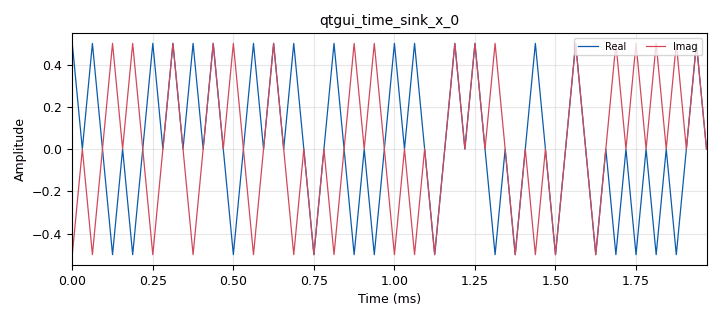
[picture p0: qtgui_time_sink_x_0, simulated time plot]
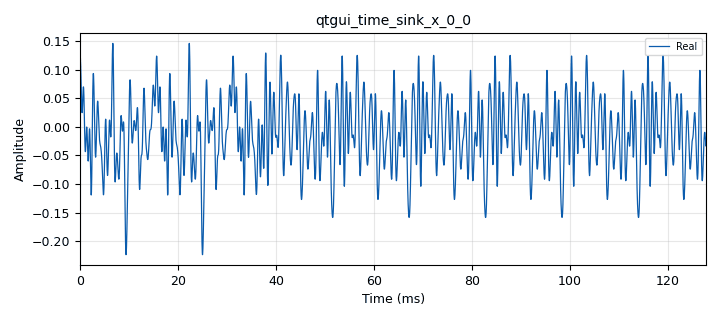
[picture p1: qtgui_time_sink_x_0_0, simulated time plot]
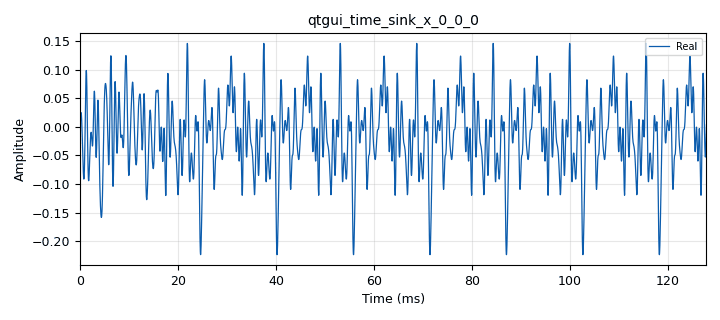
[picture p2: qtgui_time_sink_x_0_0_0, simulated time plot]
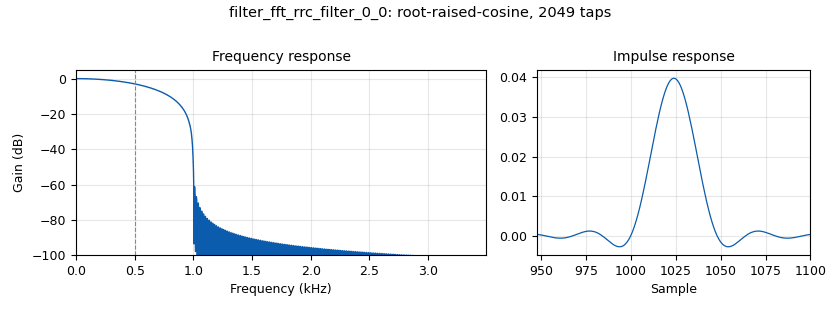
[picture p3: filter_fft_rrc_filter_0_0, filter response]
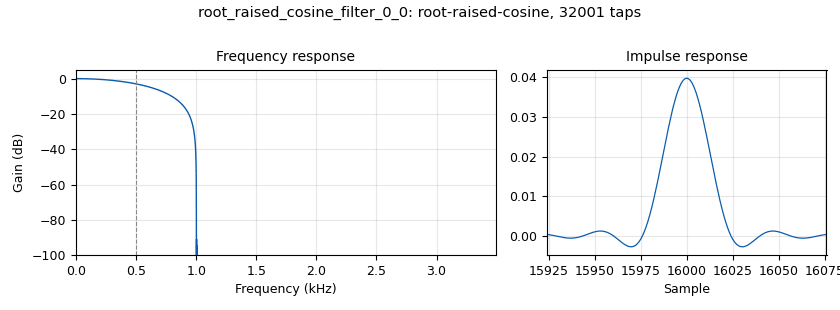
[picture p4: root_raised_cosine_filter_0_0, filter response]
options:
  parameters:
    generate_options: qt_gui
    id: QAM_Caio
    output_language: python
    title: Not titled yet
  states: {}

blocks:
- name: Ep_Choose
  id: variable_qtgui_range
  parameters:
    label: Energia Média da Constelação
    start: '1'
    step: '1'
    stop: '50'
    value: '1'
  states: {}
- name: MQAM
  id: variable_constellation
  parameters:
    const_points: '[-1-1j, -1+1j, 1+1j, 1-1j]'
    dims: '1'
    normalization: digital.constellation.AMPLITUDE_NORMALIZATION
    precision: '8'
    rot_sym: '4'
    sym_map: '[0, 1, 3, 2]'
    type: calcdist
  states: {}
- name: M_Choose
  id: variable_qtgui_chooser
  parameters:
    label: M
    labels: '[''4-QAM'' , ''16-QAM'', ''36-QAM'', ''64-QAM'']'
    num_opts: '0'
    options: '[4, 16, 36, 64]'
    type: real
    value: '4'
  states: {}
- name: SPSymb
  id: variable
  parameters:
    value: '32'
  states: {}
- name: samp_rate
  id: variable
  parameters:
    value: '32000'
  states: {}
- name: analog_random_source_x_0
  id: analog_random_source_x
  parameters:
    max: '2'
    min: '0'
    num_samps: '1000'
    repeat: 'True'
    type: int
  states: {}
- name: blocks_complex_to_float_0
  id: blocks_complex_to_float
  parameters: {}
  states: {}
- name: blocks_int_to_float_0
  id: blocks_int_to_float
  parameters:
    scale: '1'
  states: {}
- name: epy_block_0
  id: epy_block
  parameters:
    Ep: Ep_Choose
    M: M_Choose
    _source_code: |
      """
      Embedded Python Blocks:

      Each time this file is saved, GRC will instantiate the first class it finds
      to get ports and parameters of your block. The arguments to __init__  will
      be the parameters. All of them are required to have default values!
      """

      import numpy as np
      from gnuradio import gr


      class blk(gr.sync_block):  # other base classes are basic_block, decim_block, interp_block
          """Embedded Python Block example - a simple multiply const"""

          def __init__(self, M=4, Ep=1):  # only default arguments here
              """arguments to this function show up as parameters in GRC"""
              gr.sync_block.__init__(
                  self,
                  name='QAM_Modulator_Caio',   # will show up in GRC
                  in_sig=[np.float32],
                  out_sig=[np.complex64]
              )
              # if an attribute with the same name as a parameter is found,
              # a callback is registered (properties work, too).
              self.M = M
              self.Ep = Ep

          def work(self, input_items, output_items):
              N = int(np.sqrt(self.M)/2)
              BNum = int(np.log2(self.M))
              oneDim = np.arange(-1 - 2*(N-1) , 1 + 2*(N-1) + 2, 2)

              ConstPts = np.zeros((self.M),dtype=np.complex64)
              bitArray = np.zeros((self.M*2*N))
              OutArray = np.zeros((int(len(input_items[0]))),dtype=np.complex64)
              SEnergy = 0

              for i in range(2*N):
                  for j in range(2*N):
                      ConstPts[int(j+i*(2*N))] = oneDim[i]+1j*oneDim[j]
                      SEnergy = SEnergy + oneDim[i]**2+oneDim[j]**2
              SEnergy = SEnergy/self.M
              ConstPts = self.Ep*ConstPts/SEnergy

              seq = np.arange(self.M)
              bitArray = [np.binary_repr(x,BNum) for x in seq]

              output_items[0][:] = np.array(list(map(int,input_items[0])))

              for i in range(int(len(input_items[0])/BNum)):
                  for j in range(self.M):
                      if(''.join(list(map(str,(np.array(list(map(int,input_items[0][i*BNum : (i+1)*BNum]))))))) == bitArray[j]):
                          OutArray[i*BNum] = ConstPts[j]
                          break
              
              output_items[0][:] = OutArray
              return len(output_items[0])
          

          # def work(self, input_items, output_items):
          #     """example: multiply with constant"""
          #     output_items[0][:] = input_items[0] * self.M
          #     return len(output_items[0])
  states: {}
- name: filter_fft_rrc_filter_0_0
  id: filter_fft_rrc_filter
  parameters:
    alpha: '1'
    decim: '2'
    gain: '1'
    ntaps: '2048'
    samp_rate: samp_rate
    sym_rate: samp_rate/SPSymb
    type: fff
  states: {}
- name: qtgui_time_sink_x_0
  id: qtgui_time_sink_x
  parameters:
    autoscale: 'True'
    entags: 'False'
    label1: Real
    label2: Imag
    size: int(SPSymb*M_Choose/2)
    srate: samp_rate
    type: complex
    update_time: '0.1'
  states: {}
- name: qtgui_time_sink_x_0_0
  id: qtgui_time_sink_x
  parameters:
    autoscale: 'True'
    entags: 'False'
    label1: Real
    size: int(SPSymb*M_Choose/2)*64
    srate: samp_rate
    type: float
    update_time: '0.5'
  states: {}
- name: qtgui_time_sink_x_0_0_0
  id: qtgui_time_sink_x
  parameters:
    autoscale: 'True'
    entags: 'False'
    label1: Real
    size: int(SPSymb*M_Choose/2)*64
    srate: samp_rate
    type: float
    update_time: '0.5'
  states: {}
- name: root_raised_cosine_filter_0_0
  id: root_raised_cosine_filter
  parameters:
    alpha: '1'
    decim: '2'
    gain: '1'
    ntaps: samp_rate
    samp_rate: samp_rate
    sym_rate: samp_rate/SPSymb
    type: fir_filter_fff
  states: {}

connections:
- [analog_random_source_x_0, '0', blocks_int_to_float_0, '0']
- [blocks_complex_to_float_0, '0', filter_fft_rrc_filter_0_0, '0']
- [blocks_complex_to_float_0, '1', root_raised_cosine_filter_0_0, '0']
- [blocks_int_to_float_0, '0', epy_block_0, '0']
- [epy_block_0, '0', blocks_complex_to_float_0, '0']
- [epy_block_0, '0', qtgui_time_sink_x_0, '0']
- [filter_fft_rrc_filter_0_0, '0', qtgui_time_sink_x_0_0, '0']
- [root_raised_cosine_filter_0_0, '0', qtgui_time_sink_x_0_0_0, '0']

metadata:
  file_format: 1
  grc_version: 3.10.9.2
